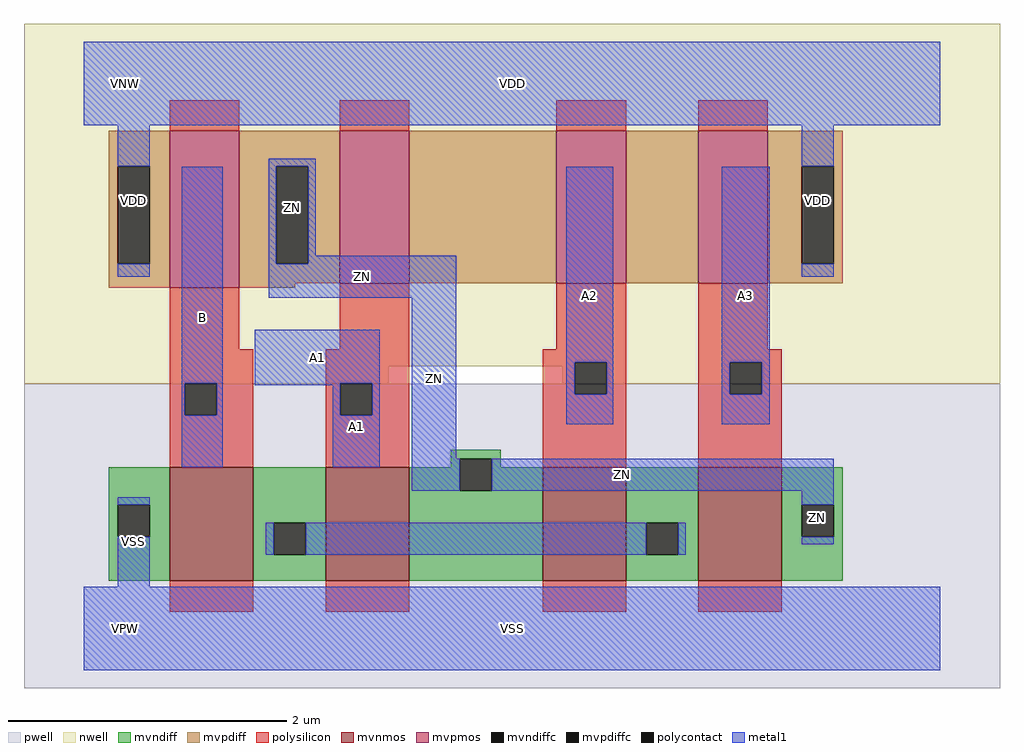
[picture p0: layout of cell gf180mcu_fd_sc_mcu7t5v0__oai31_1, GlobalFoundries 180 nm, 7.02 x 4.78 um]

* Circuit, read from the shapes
.subckt gf180mcu_fd_sc_mcu7t5v0__oai31_1 A1 A2 A3 B ZN VDD VNW VPW VSS
XM1 n1 B VSS VPW nfet_06v0 w=0.815u l=0.6u
XM2 ZN A1 n1 VPW nfet_06v0 w=0.815u l=0.6u
XM3 n1 A2 ZN VPW nfet_06v0 w=0.815u l=0.6u
XM4 ZN A3 n1 VPW nfet_06v0 w=0.815u l=0.6u
XM5 ZN B VDD VNW pfet_06v0 w=1.13u l=0.5u
XM6 n2 A1 ZN VNW pfet_06v0 w=1.095u l=0.5u
XM7 n3 A2 n2 VNW pfet_06v0 w=1.095u l=0.5u
XM8 VDD A3 n3 VNW pfet_06v0 w=1.095u l=0.5u
.ends

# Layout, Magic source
magic
tech gf180mcuD
magscale 1 10
<< nwell >>
rect -86 377 1318 870
rect -86 352 439 377
rect 688 352 1318 377
<< pwell >>
rect -86 -86 1318 352
<< mvnmos >>
rect 124 69 244 232
rect 348 69 468 232
rect 660 69 780 232
rect 884 69 1004 232
<< mvpmos >>
rect 124 490 224 716
rect 368 497 468 716
rect 680 497 780 716
rect 884 497 984 716
<< mvndiff >>
rect 528 244 600 257
rect 528 232 541 244
rect 36 178 124 232
rect 36 132 49 178
rect 95 132 124 178
rect 36 69 124 132
rect 244 152 348 232
rect 244 106 273 152
rect 319 106 348 152
rect 244 69 348 106
rect 468 198 541 232
rect 587 232 600 244
rect 587 198 660 232
rect 468 69 660 198
rect 780 152 884 232
rect 780 106 809 152
rect 855 106 884 152
rect 780 69 884 106
rect 1004 178 1092 232
rect 1004 132 1033 178
rect 1079 132 1092 178
rect 1004 69 1092 132
<< mvpdiff >>
rect 36 665 124 716
rect 36 525 49 665
rect 95 525 124 665
rect 36 490 124 525
rect 224 665 368 716
rect 224 525 277 665
rect 323 525 368 665
rect 224 497 368 525
rect 468 497 680 716
rect 780 497 884 716
rect 984 665 1092 716
rect 984 525 1033 665
rect 1079 525 1092 665
rect 984 497 1092 525
rect 224 490 304 497
<< mvndiffc >>
rect 49 132 95 178
rect 273 106 319 152
rect 541 198 587 244
rect 809 106 855 152
rect 1033 132 1079 178
<< mvpdiffc >>
rect 49 525 95 665
rect 277 525 323 665
rect 1033 525 1079 665
<< polysilicon >>
rect 124 716 224 760
rect 368 716 468 760
rect 680 716 780 760
rect 884 716 984 760
rect 124 402 224 490
rect 368 402 468 497
rect 680 402 780 497
rect 124 353 244 402
rect 124 307 145 353
rect 191 307 244 353
rect 124 232 244 307
rect 348 353 468 402
rect 348 307 369 353
rect 415 307 468 353
rect 348 232 468 307
rect 660 383 780 402
rect 660 337 706 383
rect 752 337 780 383
rect 660 232 780 337
rect 884 402 984 497
rect 884 383 1004 402
rect 884 337 929 383
rect 975 337 1004 383
rect 884 232 1004 337
rect 124 24 244 69
rect 348 24 468 69
rect 660 24 780 69
rect 884 24 1004 69
<< polycontact >>
rect 145 307 191 353
rect 369 307 415 353
rect 706 337 752 383
rect 929 337 975 383
<< metal1 >>
rect 0 724 1232 844
rect 49 665 95 724
rect 266 665 334 676
rect 49 506 95 525
rect 141 353 200 664
rect 266 525 277 665
rect 323 536 334 665
rect 1033 665 1079 724
rect 323 525 536 536
rect 266 476 536 525
rect 141 307 145 353
rect 191 307 200 353
rect 246 353 426 430
rect 246 350 369 353
rect 141 232 200 307
rect 358 307 369 350
rect 415 307 426 353
rect 358 232 426 307
rect 472 244 536 476
rect 694 383 762 664
rect 694 337 706 383
rect 752 337 762 383
rect 694 294 762 337
rect 918 383 987 664
rect 1033 506 1079 525
rect 918 337 929 383
rect 975 337 987 383
rect 918 294 987 337
rect 472 198 541 244
rect 587 198 1079 244
rect 49 178 95 189
rect 1033 178 1079 198
rect 49 60 95 132
rect 262 106 273 152
rect 319 106 809 152
rect 855 106 866 152
rect 1033 121 1079 132
rect 0 -60 1232 60
<< labels >>
flabel metal1 s 0 724 1232 844 0 FreeSans 400 0 0 0 VDD
port 6 nsew power bidirectional abutment
flabel metal1 s 266 536 334 676 0 FreeSans 400 0 0 0 ZN
port 5 nsew default output
flabel metal1 s 141 232 200 664 0 FreeSans 400 0 0 0 B
port 4 nsew default input
flabel metal1 s 246 350 426 430 0 FreeSans 400 0 0 0 A1
port 1 nsew default input
flabel metal1 s 694 294 762 664 0 FreeSans 400 0 0 0 A2
port 2 nsew default input
flabel metal1 s 49 60 95 189 0 FreeSans 400 0 0 0 VSS
port 9 nsew ground bidirectional abutment
flabel metal1 s 918 294 987 664 0 FreeSans 400 0 0 0 A3
port 3 nsew default input
flabel nwell s 10 734 110 834 0 FreeSans 400 0 0 0 VNW
port 7 nsew power bidirectional
flabel pwell s 10 -50 110 50 0 FreeSans 400 0 0 0 VPW
port 8 nsew ground bidirectional
rlabel metal1 s 358 232 426 350 1 A1
port 1 nsew default input
rlabel metal1 s 266 476 536 536 1 ZN
port 5 nsew default output
rlabel metal1 s 472 244 536 476 1 ZN
port 5 nsew default output
rlabel metal1 s 472 198 1079 244 1 ZN
port 5 nsew default output
rlabel metal1 s 1033 121 1079 198 1 ZN
port 5 nsew default output
rlabel metal1 s 1033 506 1079 724 1 VDD
port 6 nsew power bidirectional abutment
rlabel metal1 s 49 506 95 724 1 VDD
port 6 nsew power bidirectional abutment
rlabel metal1 s 0 -60 1232 60 1 VSS
port 9 nsew ground bidirectional abutment
<< properties >>
string FIXED_BBOX 0 0 1232 784
string GDS_END 39416
string GDS_FILE $PDKPATH/libs.ref/gf180mcu_fd_sc_mcu7t5v0/gds/gf180mcu_fd_sc_mcu7t5v0.gds
string GDS_START 35898
string LEFclass core
string LEFsite GF018hv5v_mcu_sc7
string LEFsymmetry X Y
<< end >>
